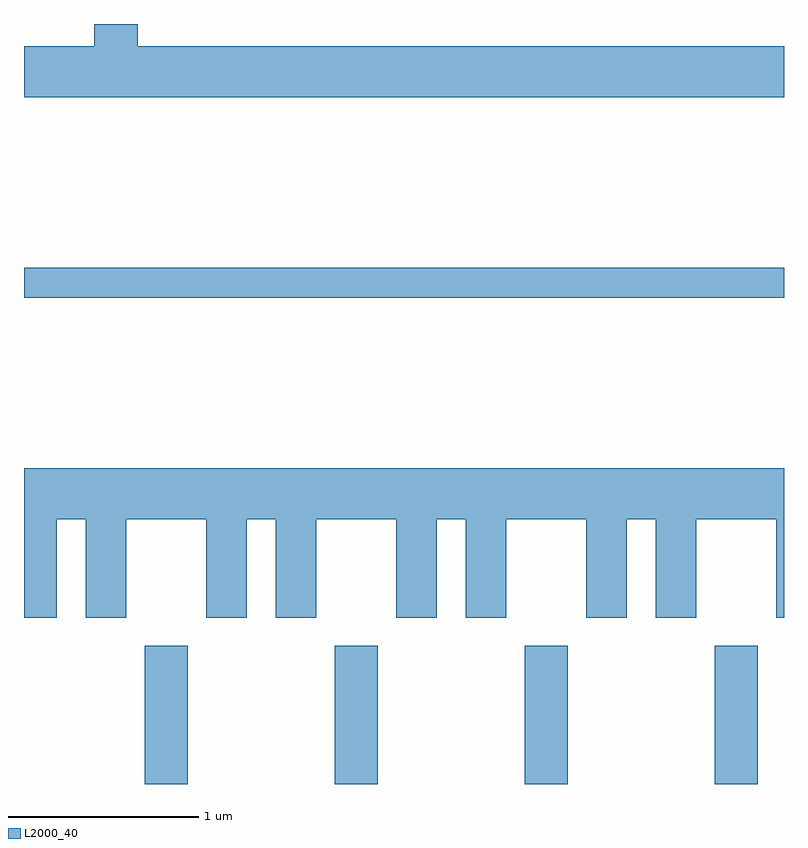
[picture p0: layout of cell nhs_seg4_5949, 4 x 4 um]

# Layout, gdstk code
import gdstk
lib = gdstk.Library(unit=1e-6, precision=1e-09)
def R(c, l, rs):  # rectangles x0, y0, x1, y1
    for r in rs: c.add(gdstk.rectangle(r[:2], r[2:], *l))
def A(c, l, x, y, w, h, nx, ny, dx, dy):  # array of equal rectangles
    R(c, l, [(x+i*dx, y+j*dy, x+i*dx+w, y+j*dy+h) for i in range(nx) for j in range(ny)])
def P(c, l, *ps):  # polygons
    for p in ps: c.add(gdstk.Polygon(p, *l))
L2000_40 = (2000, 40)

nhs_seg4_5949 = lib.new_cell('nhs_seg4_5949')
A(nhs_seg4_5949, L2000_40, 360.246, 1319.982, 0.228, 0.727, 4, 1, 1, 0)
R(nhs_seg4_5949, L2000_40, [(359.611,1322.541,363.611,1322.699)])
P(nhs_seg4_5949, L2000_40, [(363.611,1323.864),(360.209,1323.864),(360.209,1323.982),(359.981,1323.982),(359.981,1323.864),(359.611,1323.864),(359.611,1323.596),(363.611,1323.596)],
  [(359.784,1321.376),(359.936,1321.376),(359.936,1320.856),(360.149,1320.856),(360.149,1321.376),(360.571,1321.376),(360.571,1320.856),(360.784,1320.856),(360.784,1321.376),(360.936,1321.376),(360.936,1320.856),(361.149,1320.856),(361.149,1321.376),(361.571,1321.376),(361.571,1320.856),(361.784,1320.856),(361.784,1321.376),(361.936,1321.376),(361.936,1320.856),(362.149,1320.856),(362.149,1321.376),(362.571,1321.376),(362.571,1320.856),(362.784,1320.856),(362.784,1321.376),(362.936,1321.376),(362.936,1320.856),(363.149,1320.856),(363.149,1321.376),(363.571,1321.376),(363.571,1320.856),(363.611,1320.856),(363.611,1321.644),(359.611,1321.644),(359.611,1320.856),(359.784,1320.856)])

lib.write_gds('nhs_seg4_5949.gds')
